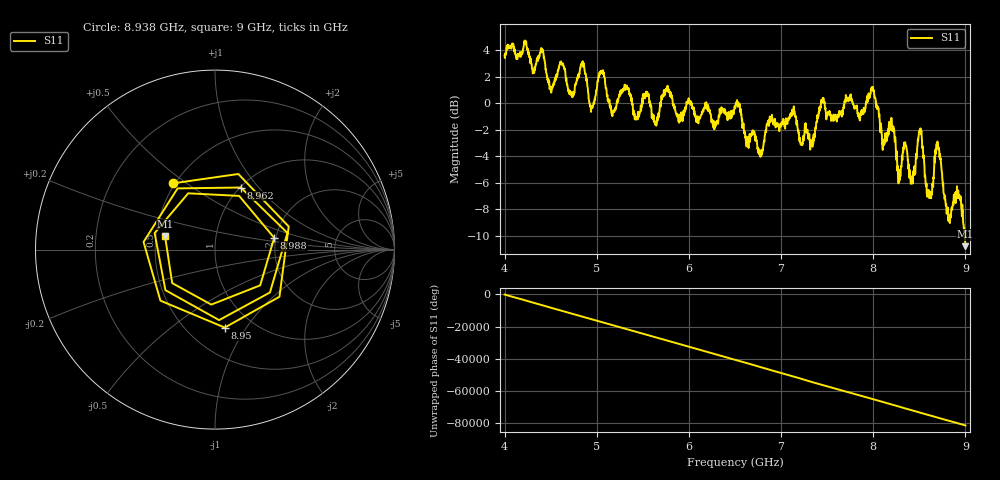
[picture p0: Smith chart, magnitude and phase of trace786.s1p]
! Created with skrf 1.8.0 (http://scikit-rf.org).
# Hz S RI R 50.0
!freq ReS11 ImS11
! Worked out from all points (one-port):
!   1601 points, 4 GHz to 9 GHz, reference 50 ohm
!   lowest |S11| = -10.8 dB at 9 GHz (marker M1), VSWR 1.81, Z = 27.9 + j4.6 ohm
!   |S11| at or under -10 dB: 8.992015 GHz to end of sweep
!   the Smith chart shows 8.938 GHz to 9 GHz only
!   S11 on the Smith chart (normalised r, x): 8.938 GHz: 0.49, +0.45; 8.95 GHz: 0.75, -0.80; 8.962 GHz: 1.01, +0.81; 8.988 GHz: 1.96, +0.29; 9 GHz: 0.56, +0.09
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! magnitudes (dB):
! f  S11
! 4 GHz  3.6
! 4.625 GHz  3.0
! 4.725 GHz  0.6
! 4.853 GHz  2.7
! 4.941 GHz  -0.2
! 5.05 GHz  2.3
! 5.166 GHz  -0.8
! 5.25 GHz  0.5
! 5.875 GHz  -1.0
! 6.5 GHz  -0.3
! 6.775 GHz  -4.1
! 7.125 GHz  -0.6
! 7.334 GHz  -2.8
! 7.447 GHz  0.2
! 7.75 GHz  0.6
! 7.997 GHz  1.2
! 8.284 GHz  -5.9
! 8.375 GHz  -4.4
! 8.431 GHz  -5.7
! 8.509 GHz  -2.1
! 8.606 GHz  -7.2
! 8.7 GHz  -3.1
! 8.812 GHz  -8.1
! 8.938 GHz  -7.2
! 8.95 GHz  -7.2
! 8.962 GHz  -8.5
! 8.988 GHz  -9.5
! 9 GHz  -10.8
